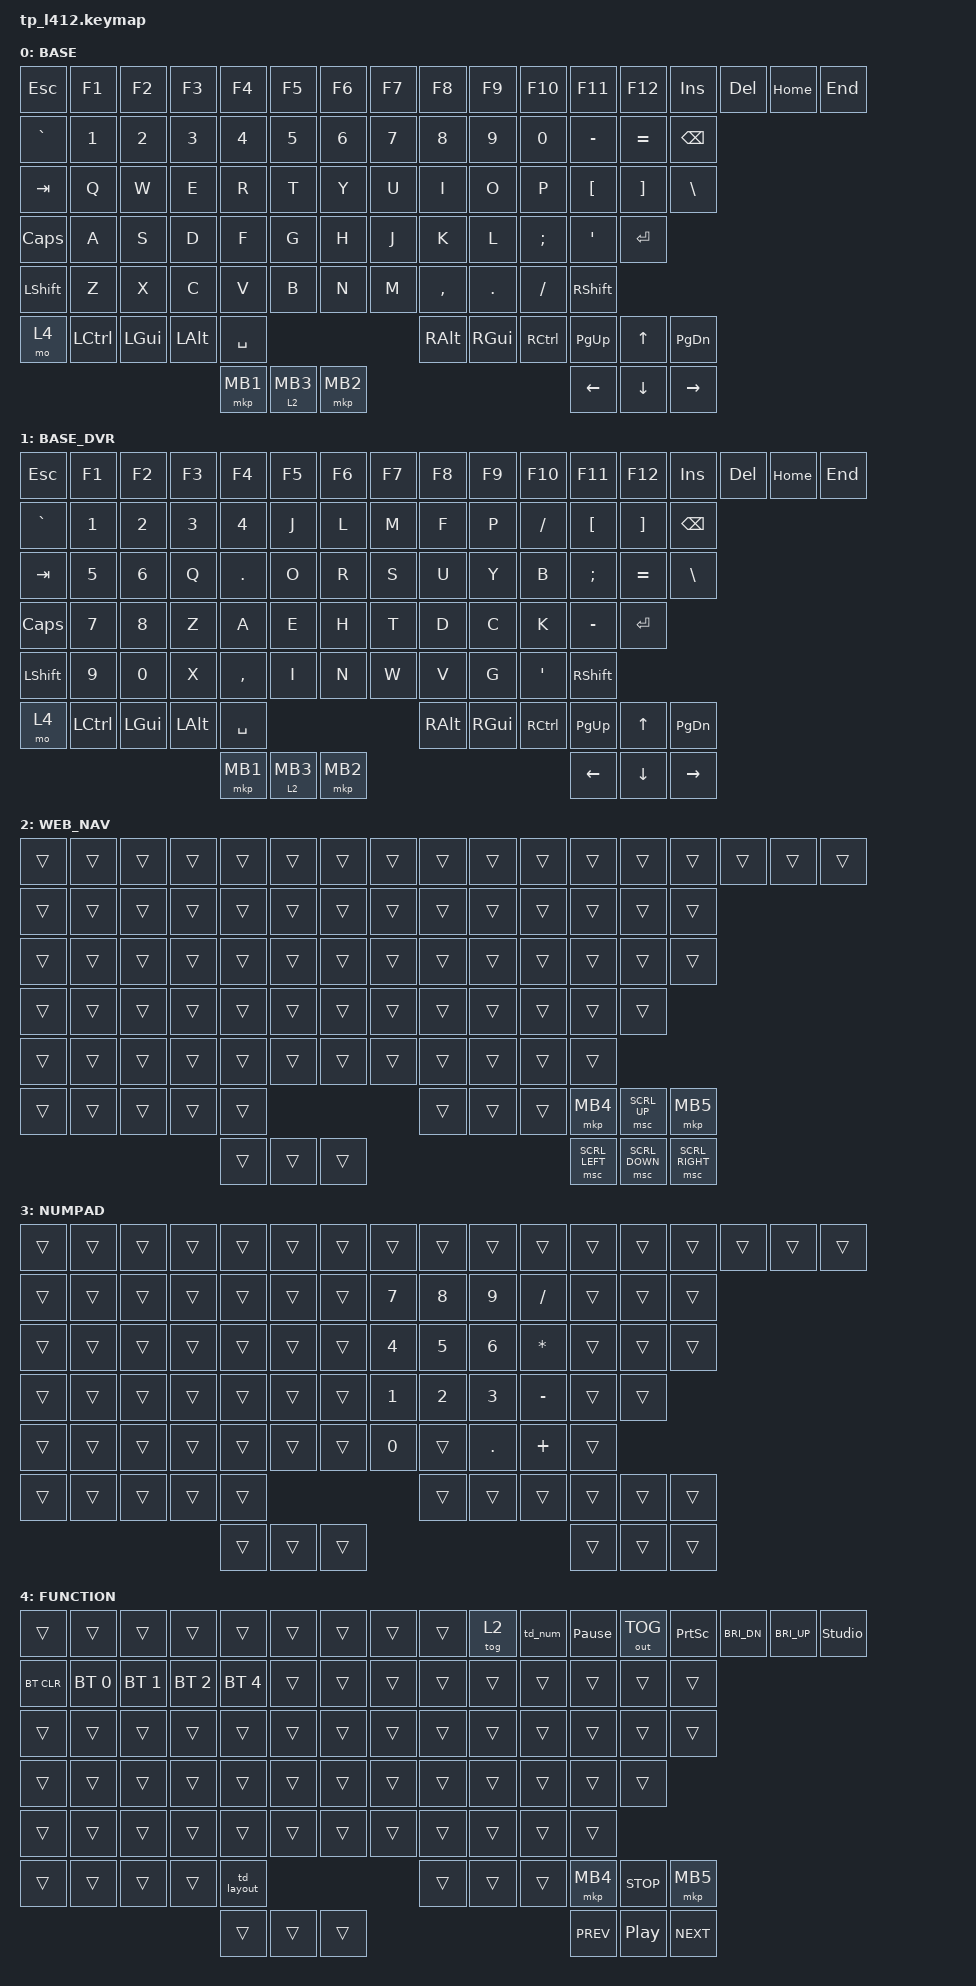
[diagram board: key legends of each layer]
#include <behaviors.dtsi>
#include <dt-bindings/zmk/bt.h>
#include <dt-bindings/zmk/keys.h>
#include <dt-bindings/zmk/outputs.h>
#include <dt-bindings/zmk/pointing.h>

/ {
    behaviors {
        td_num: td_num {
            compatible = "zmk,behavior-tap-dance";
            label = "TD_NUM";
            #binding-cells = <0>;
            bindings = <&tog 3>, <&kp KP_NUMLOCK>;
        };

        td_layout: td_layout {
            compatible = "zmk,behavior-tap-dance";
            label = "TD_LAYOUT";
            #binding-cells = <0>;
            bindings = <&to 0>, <&to 1>;
        };

        ht_mclk: ht_mclk {
            compatible = "zmk,behavior-hold-tap";
            label = "HT_MCLK";
            bindings = <&mo>, <&mkp>;

            #binding-cells = <2>;
            flavor = "balanced";
            tapping-term-ms = <250>;
        };
    };

    keymap {
        compatible = "zmk,keymap";

        // --------------------------------------------------------------------------------------------------
        // |  ESC  | F1 | F2 | F3 | F4 | F5 | F6 | F7 | F8 | F9 | F10 | F11 | F12 | INS | DEL | HOME | END  |
        // |   `   |  1  |  2  |  3  |  4  |  5  |  6  |  7  |  8  |  9  |  0  |  -  |  =  |     BKSP       |
        // |  TAB     |  Q  |  W  |  E  |  R  |  T  |  Y  |  U  |  I  |  O  |  P  |  [  |  ]  |     \       |
        // |  LCTRL    |  A  |  S  |  D  |  F  |  G  |  H  |  J  |  K  |  L  |  ;  |  '  |      ENTER       |
        // |  SHIFT       |  Z  |  X  |  C  |  V   |  B  |  N  |  M  |  ,  |  .  |  /  |        RSHFT       |
        // | FN | LCTRL | LGUI | LALT |             SPACE            | RALT | FN | RCTRL | PGUP | UP | PGDN |
        // ---------------------------| MS_LEFT |  MS_MID | MS_RIGHT |-------------------| LEFT | DN | RGHT |
        // --------------------------------------------------------------------------------------------------

        default_layer {
            display-name = "BASE";
            bindings = <
&kp ESC    &kp F1     &kp F2    &kp F3    &kp F4     &kp F5          &kp F6    &kp F7  &kp F8     &kp F9    &kp F10    &kp F11    &kp F12    &kp INS    &kp DEL  &kp HOME  &kp END
&kp GRAVE  &kp N1     &kp N2    &kp N3    &kp N4     &kp N5          &kp N6    &kp N7  &kp N8     &kp N9    &kp N0     &kp MINUS  &kp EQUAL  &kp BSPC
&kp TAB    &kp Q      &kp W     &kp E     &kp R      &kp T           &kp Y     &kp U   &kp I      &kp O     &kp P      &kp LBKT   &kp RBKT   &kp BSLH
&kp CAPS   &kp A      &kp S     &kp D     &kp F      &kp G           &kp H     &kp J   &kp K      &kp L     &kp SEMI   &kp SQT    &kp RET
&kp LSHFT  &kp Z      &kp X     &kp C     &kp V      &kp B           &kp N     &kp M   &kp COMMA  &kp DOT   &kp SLASH  &kp RSHFT
&mo 4      &kp LCTRL  &kp LGUI  &kp LALT  &kp SPACE                                    &kp RALT   &kp RGUI  &kp RCTRL  &kp PG_UP  &kp UP     &kp PG_DN
                                          &mkp MB1   &ht_mclk 2 MB3  &mkp MB2                                          &kp LEFT   &kp DOWN   &kp RIGHT
            >;
        };

        dvorak_right {
            display-name = "BASE_DVR";
            bindings = <
&kp ESC    &kp F1     &kp F2    &kp F3    &kp F4     &kp F5          &kp F6    &kp F7  &kp F8    &kp F9    &kp F10    &kp F11    &kp F12    &kp INS    &kp DEL  &kp HOME  &kp END
&kp GRAVE  &kp N1     &kp N2    &kp N3    &kp N4     &kp J           &kp L     &kp M   &kp F     &kp P     &kp FSLH   &kp LBKT   &kp RBKT   &kp BSPC
&kp TAB    &kp N5     &kp N6    &kp Q     &kp DOT    &kp O           &kp R     &kp S   &kp U     &kp Y     &kp B      &kp SEMI   &kp EQUAL  &kp BSLH
&kp CAPS   &kp N7     &kp N8    &kp Z     &kp A      &kp E           &kp H     &kp T   &kp D     &kp C     &kp K      &kp MINUS  &kp RET
&kp LSHFT  &kp N9     &kp N0    &kp X     &kp COMMA  &kp I           &kp N     &kp W   &kp V     &kp G     &kp SQT    &kp RSHFT
&mo 4      &kp LCTRL  &kp LGUI  &kp LALT  &kp SPACE                                    &kp RALT  &kp RGUI  &kp RCTRL  &kp PG_UP  &kp UP     &kp PG_DN
                                          &mkp MB1   &ht_mclk 2 MB3  &mkp MB2                                         &kp LEFT   &kp DOWN   &kp RIGHT
            >;
        };

        web_nav_layer {
            bindings = <
&trans  &trans  &trans  &trans  &trans  &trans  &trans  &trans  &trans  &trans  &trans  &trans          &trans          &trans           &trans  &trans  &trans
&trans  &trans  &trans  &trans  &trans  &trans  &trans  &trans  &trans  &trans  &trans  &trans          &trans          &trans
&trans  &trans  &trans  &trans  &trans  &trans  &trans  &trans  &trans  &trans  &trans  &trans          &trans          &trans
&trans  &trans  &trans  &trans  &trans  &trans  &trans  &trans  &trans  &trans  &trans  &trans          &trans
&trans  &trans  &trans  &trans  &trans  &trans  &trans  &trans  &trans  &trans  &trans  &trans
&trans  &trans  &trans  &trans  &trans                          &trans  &trans  &trans  &mkp MB4        &msc SCRL_UP    &mkp MB5
                                &trans  &trans  &trans                                  &msc SCRL_LEFT  &msc SCRL_DOWN  &msc SCRL_RIGHT
            >;

            label = "WEB_NAV";
        };

        numpad_layer {
            bindings = <
&trans  &trans  &trans  &trans  &trans  &trans  &trans  &trans  &trans  &trans   &trans     &trans  &trans  &trans  &trans  &trans  &trans
&trans  &trans  &trans  &trans  &trans  &trans  &trans  &kp N7  &kp N8  &kp N9   &kp FSLH   &trans  &trans  &trans
&trans  &trans  &trans  &trans  &trans  &trans  &trans  &kp N4  &kp N5  &kp N6   &kp STAR   &trans  &trans  &trans
&trans  &trans  &trans  &trans  &trans  &trans  &trans  &kp N1  &kp N2  &kp N3   &kp MINUS  &trans  &trans
&trans  &trans  &trans  &trans  &trans  &trans  &trans  &kp N0  &trans  &kp DOT  &kp PLUS   &trans
&trans  &trans  &trans  &trans  &trans                          &trans  &trans   &trans     &trans  &trans  &trans
                                &trans  &trans  &trans                                      &trans  &trans  &trans
            >;

            label = "NUMPAD";
        };

        function_layer {
            bindings = <
&trans      &trans        &trans        &trans        &trans        &trans  &trans  &trans  &trans  &tog 2  &td_num  &kp PAUSE_BREAK  &out OUT_TOG  &kp PSCRN   &kp C_BRI_DN  &kp C_BRI_UP  &studio_unlock
&bt BT_CLR  &bt BT_SEL 0  &bt BT_SEL 1  &bt BT_SEL 2  &bt BT_SEL 4  &trans  &trans  &trans  &trans  &trans  &trans   &trans           &trans        &trans
&trans      &trans        &trans        &trans        &trans        &trans  &trans  &trans  &trans  &trans  &trans   &trans           &trans        &trans
&trans      &trans        &trans        &trans        &trans        &trans  &trans  &trans  &trans  &trans  &trans   &trans           &trans
&trans      &trans        &trans        &trans        &trans        &trans  &trans  &trans  &trans  &trans  &trans   &trans
&trans      &trans        &trans        &trans        &td_layout                            &trans  &trans  &trans   &mkp MB4         &kp C_STOP    &mkp MB5
                                                      &trans        &trans  &trans                                   &kp C_PREV       &kp C_PP      &kp C_NEXT
            >;

            label = "FUNCTION";
        };
    };
};
